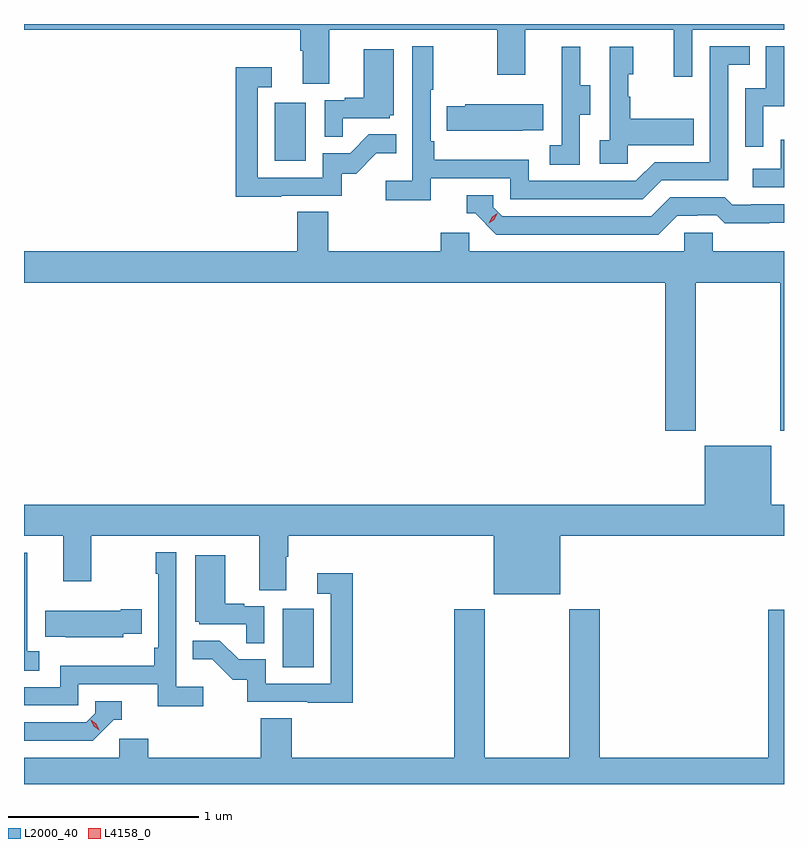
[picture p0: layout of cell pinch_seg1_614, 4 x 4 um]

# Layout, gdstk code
import gdstk
lib = gdstk.Library(unit=1e-6, precision=1e-09)
def R(c, l, rs):  # rectangles x0, y0, x1, y1
    for r in rs: c.add(gdstk.rectangle(r[:2], r[2:], *l))
def P(c, l, *ps):  # polygons
    for p in ps: c.add(gdstk.Polygon(p, *l))
L2000_40 = (2000, 40)
L4158_0 = (4158, 0)

pinch_seg1_614 = lib.new_cell('pinch_seg1_614')
R(pinch_seg1_614, L2000_40, [(1082.222,504.42,1082.386,504.727), (1082.18,507.084,1082.344,507.391)])
P(pinch_seg1_614, L2000_40, [(1082.467,507.776),(1083.352,507.776),(1083.352,507.537),(1083.499,507.537),(1083.499,507.776),(1084.28,507.776),(1084.28,507.528),(1084.377,507.528),(1084.377,507.776),(1084.86,507.776),(1084.86,507.805),(1080.86,507.805),(1080.86,507.776),(1082.315,507.776),(1082.315,507.664),(1082.327,507.664),(1082.327,507.49),(1082.467,507.49)],
  [(1083.002,506.994),(1083.42,506.994),(1083.42,506.883),(1084.117,506.883),(1084.216,506.982),(1084.566,506.982),(1084.566,507.591),(1084.679,507.591),(1084.679,507.687),(1084.47,507.687),(1084.47,507.078),(1084.179,507.078),(1084.08,506.979),(1083.516,506.979),(1083.516,507.091),(1083.02,507.091),(1083.02,507.187),(1083,507.187),(1083,507.46),(1083.013,507.46),(1083.013,507.688),(1082.904,507.688),(1082.904,506.98),(1082.763,506.98),(1082.763,506.878),(1083.002,506.878)],
  [(1084.752,507.371),(1084.86,507.371),(1084.86,507.687),(1084.764,507.687),(1084.764,507.468),(1084.656,507.468),(1084.656,507.159),(1084.752,507.159)],
  [(1084.038,507.167),(1084.385,507.167),(1084.385,507.307),(1084.051,507.307),(1084.051,507.422),(1084.041,507.422),(1084.041,507.54),(1084.066,507.54),(1084.066,507.685),(1083.942,507.685),(1083.942,507.194),(1083.891,507.194),(1083.891,507.069),(1084.038,507.069)],
  [(1083.786,507.328),(1083.841,507.328),(1083.841,507.483),(1083.787,507.483),(1083.787,507.685),(1083.689,507.685),(1083.689,507.471),(1083.69,507.471),(1083.69,507.167),(1083.627,507.167),(1083.627,507.064),(1083.786,507.064)],
  [(1082.537,507.309),(1082.784,507.309),(1082.784,507.324),(1082.806,507.324),(1082.806,507.673),(1082.648,507.673),(1082.648,507.418),(1082.549,507.418),(1082.549,507.405),(1082.442,507.405),(1082.442,507.211),(1082.537,507.211)],
  [(1082.213,506.901),(1082.532,506.901),(1082.532,507.018),(1082.608,507.018),(1082.715,507.125),(1082.819,507.125),(1082.819,507.224),(1082.675,507.224),(1082.577,507.126),(1082.433,507.126),(1082.433,506.997),(1082.091,506.997),(1082.091,507.471),(1082.164,507.471),(1082.164,507.577),(1081.975,507.577),(1081.975,506.896),(1082.213,506.896)],
  [(1083.485,507.245),(1083.593,507.245),(1083.593,507.382),(1083.183,507.382),(1083.183,507.372),(1083.085,507.372),(1083.085,507.242),(1083.485,507.242)],
  [(1084.86,507.196),(1084.842,507.196),(1084.842,507.042),(1084.695,507.042),(1084.695,506.946),(1084.86,506.946)],
  [(1084.297,506.796),(1084.404,506.796),(1084.404,506.799),(1084.507,506.799),(1084.549,506.757),(1084.782,506.757),(1084.782,506.759),(1084.86,506.759),(1084.86,506.856),(1084.687,506.856),(1084.687,506.853),(1084.588,506.853),(1084.549,506.892),(1084.26,506.892),(1084.161,506.793),(1083.378,506.793),(1083.33,506.841),(1083.33,506.904),(1083.191,506.904),(1083.191,506.808),(1083.234,506.808),(1083.345,506.697),(1084.198,506.697)],
  [(1084.395,506.444),(1084.84,506.444),(1084.84,505.665),(1084.86,505.665),(1084.86,506.608),(1084.485,506.608),(1084.485,506.706),(1084.335,506.706),(1084.335,506.608),(1083.204,506.608),(1083.204,506.706),(1083.053,506.706),(1083.053,506.608),(1082.462,506.608),(1082.462,506.816),(1082.297,506.816),(1082.297,506.608),(1080.86,506.608),(1080.86,506.444),(1084.235,506.444),(1084.235,505.665),(1084.395,505.665)],
  [(1083.682,505.112),(1084.86,505.112),(1084.86,505.276),(1084.792,505.276),(1084.792,505.585),(1084.442,505.585),(1084.442,505.276),(1080.86,505.276),(1080.86,505.112),(1081.067,505.112),(1081.067,504.873),(1081.215,504.873),(1081.215,505.112),(1082.099,505.112),(1082.099,504.826),(1082.239,504.826),(1082.239,505),(1082.252,505),(1082.252,505.112),(1083.332,505.112),(1083.332,504.803),(1083.682,504.803)],
  [(1081.804,504.316),(1081.662,504.316),(1081.662,505.024),(1081.554,505.024),(1081.554,504.911),(1081.566,504.911),(1081.566,504.523),(1081.546,504.523),(1081.546,504.427),(1081.05,504.427),(1081.05,504.315),(1080.86,504.315),(1080.86,504.219),(1081.146,504.219),(1081.146,504.33),(1081.565,504.33),(1081.565,504.214),(1081.804,504.214)],
  [(1080.94,504.503),(1080.876,504.503),(1080.876,504.807),(1080.878,504.807),(1080.878,505.021),(1080.86,505.021),(1080.86,504.4),(1080.94,504.4)],
  [(1082.124,504.741),(1082.018,504.741),(1082.018,504.754),(1081.918,504.754),(1081.918,505.009),(1081.76,505.009),(1081.76,504.66),(1081.782,504.66),(1081.782,504.645),(1082.029,504.645),(1082.029,504.547),(1082.124,504.547)],
  [(1082.591,504.913),(1082.403,504.913),(1082.403,504.807),(1082.475,504.807),(1082.475,504.333),(1082.133,504.333),(1082.133,504.462),(1081.989,504.462),(1081.891,504.56),(1081.747,504.56),(1081.747,504.461),(1081.851,504.461),(1081.958,504.354),(1082.035,504.354),(1082.035,504.237),(1082.353,504.237),(1082.353,504.232),(1082.591,504.232)],
  [(1081.383,504.596),(1081.481,504.596),(1081.481,504.726),(1081.37,504.726),(1081.37,504.718),(1080.973,504.718),(1080.973,504.581),(1081.081,504.581),(1081.081,504.578),(1081.383,504.578)],
  [(1084.86,504.723),(1084.778,504.723),(1084.778,503.944),(1083.89,503.944),(1083.89,504.724),(1083.73,504.724),(1083.73,503.944),(1083.285,503.944),(1083.285,504.724),(1083.125,504.724),(1083.125,503.944),(1082.27,503.944),(1082.27,504.152),(1082.105,504.152),(1082.105,503.944),(1081.514,503.944),(1081.514,504.042),(1081.362,504.042),(1081.362,503.944),(1080.86,503.944),(1080.86,503.805),(1084.86,503.805)],
  [(1081.332,504.144),(1081.375,504.144),(1081.375,504.24),(1081.236,504.24),(1081.236,504.177),(1081.188,504.129),(1080.86,504.129),(1080.86,504.033),(1081.221,504.033)])
P(pinch_seg1_614, L4158_0, [(1083.305,506.756),(1083.305,506.756),(1083.321,506.789),(1083.351,506.809),(1083.351,506.809),(1083.351,506.809),(1083.336,506.776),(1083.306,506.756)],
  [(1081.257,504.089),(1081.226,504.109),(1081.211,504.141),(1081.211,504.142),(1081.211,504.142),(1081.241,504.122),(1081.257,504.089),(1081.257,504.089)])

lib.write_gds('pinch_seg1_614.gds')
